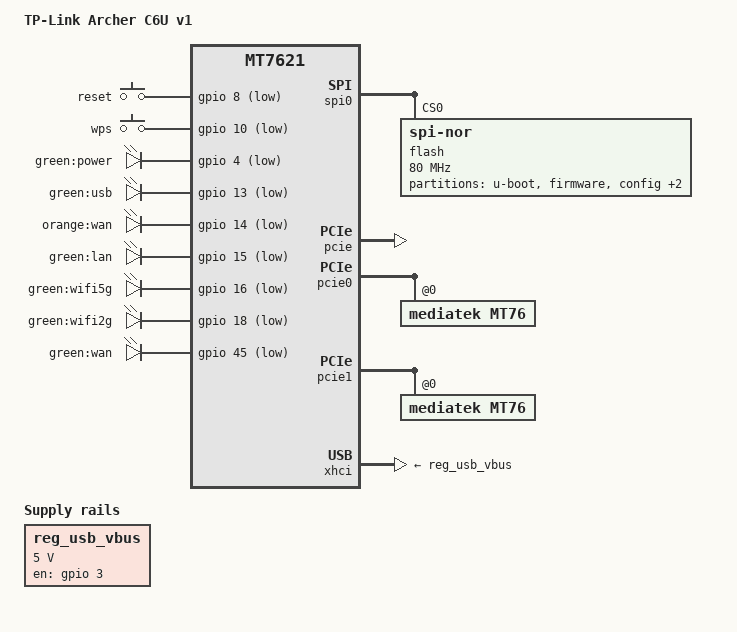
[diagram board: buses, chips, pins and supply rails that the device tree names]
// SPDX-License-Identifier: GPL-2.0-or-later OR MIT

#include "mt7621.dtsi"

#include <dt-bindings/gpio/gpio.h>
#include <dt-bindings/input/input.h>

/ {
	compatible = "tplink,archer-c6u-v1", "mediatek,mt7621-soc";
	model = "TP-Link Archer C6U v1";

	aliases {
		led-boot = &led_power;
		led-failsafe = &led_power;
		led-running = &led_power;
		led-upgrade = &led_power;
		label-mac-device = &gmac0;
	};

	chosen {
		bootargs = "console=ttyS0,115200";
	};

	keys {
		compatible = "gpio-keys";

		reset {
			label = "reset";
			gpios = <&gpio 8 GPIO_ACTIVE_LOW>;
			linux,code = <KEY_RESTART>;
		};

		wps {
			label = "wps";
			gpios = <&gpio 10 GPIO_ACTIVE_LOW>;
			linux,code = <KEY_WPS_BUTTON>;
		};
	};

	leds {
		compatible = "gpio-leds";

		led_power: power {
			label = "green:power";
			gpios = <&gpio 4 GPIO_ACTIVE_LOW>;
		};

		usb {
			label = "green:usb";
			gpios = <&gpio 13 GPIO_ACTIVE_LOW>;
			trigger-sources = <&ehci_port2>;
			linux,default-trigger = "usbport";
		};

		wan-orange {
			label = "orange:wan";
			gpios = <&gpio 14 GPIO_ACTIVE_LOW>;
		};

		lan {
			label = "green:lan";
			gpios = <&gpio 15 GPIO_ACTIVE_LOW>;
		};

		wifi5g {
			label = "green:wifi5g";
			gpios = <&gpio 16 GPIO_ACTIVE_LOW>;
			linux,default-trigger = "phy1tpt";
		};

		wifi2g {
			label = "green:wifi2g";
			gpios = <&gpio 18 GPIO_ACTIVE_LOW>;
			linux,default-trigger = "phy0tpt";
		};

		wan-green {
			label = "green:wan";
			gpios = <&gpio 45 GPIO_ACTIVE_LOW>;
		};
	};

	reg_usb_vbus: regulator {
		compatible = "regulator-fixed";
		regulator-name = "usb_vbus";
		regulator-min-microvolt = <5000000>;
		regulator-max-microvolt = <5000000>;
		gpio = <&gpio 3 GPIO_ACTIVE_HIGH>;
		enable-active-high;
	};
};

&spi0 {
	status = "okay";

	flash@0 {
		compatible = "jedec,spi-nor";
		reg = <0>;
		spi-max-frequency = <80000000>;

		partitions {
			compatible = "fixed-partitions";
			#address-cells = <1>;
			#size-cells = <1>;

			partition@0 {
				label = "u-boot";
				reg = <0x000000 0x040000>;
				read-only;
			};

			partition@40000 {
				compatible = "denx,uimage";
				label = "firmware";
				reg = <0x040000 0xf60000>;
			};

			config: partition@fa0000 {
				label = "config";
				reg = <0xfa0000 0x010000>;
				read-only;
			};

			partition@fb0000 {
				label = "tplink";
				reg = <0xfb0000 0x040000>;
				read-only;
			};

			radio: partition@ff0000 {
				label = "radio";
				reg = <0xff0000 0x010000>;
				read-only;
			};
		};
	};
};

&pcie {
	status = "okay";
};

&pcie0 {
	mt76@0,0 {
		compatible = "mediatek,mt76";
		reg = <0x0000 0 0 0 0>;
		mediatek,mtd-eeprom = <&radio 0x0>;
		mtd-mac-address = <&config 0x8>;
		ieee80211-freq-limit = <2400000 2500000>;
	};
};

&pcie1 {
	mt76@0,0 {
		compatible = "mediatek,mt76";
		reg = <0x0000 0 0 0 0>;
		mediatek,mtd-eeprom = <&radio 0x8000>;
		mtd-mac-address = <&config 0x8>;
		mtd-mac-address-increment = <(-1)>;
		ieee80211-freq-limit = <5000000 6000000>;
	};
};

&gmac0 {
	mtd-mac-address = <&config 0x8>;
};

&switch0 {
	ports {
		port@0 {
			status = "okay";
			label = "wan";
			mtd-mac-address = <&config 0x8>;
			mtd-mac-address-increment = <1>;
		};

		port@1 {
			status = "okay";
			label = "lan1";
		};

		port@2 {
			status = "okay";
			label = "lan2";
		};

		port@3 {
			status = "okay";
			label = "lan3";
		};

		port@4 {
			status = "okay";
			label = "lan4";
		};
	};
};

&state_default {
	gpio {
		groups = "i2c", "uart2", "uart3", "jtag", "wdt", "sdhci";
		function = "gpio";
	};
};

&xhci {
	vbus-supply = <&reg_usb_vbus>;
};
